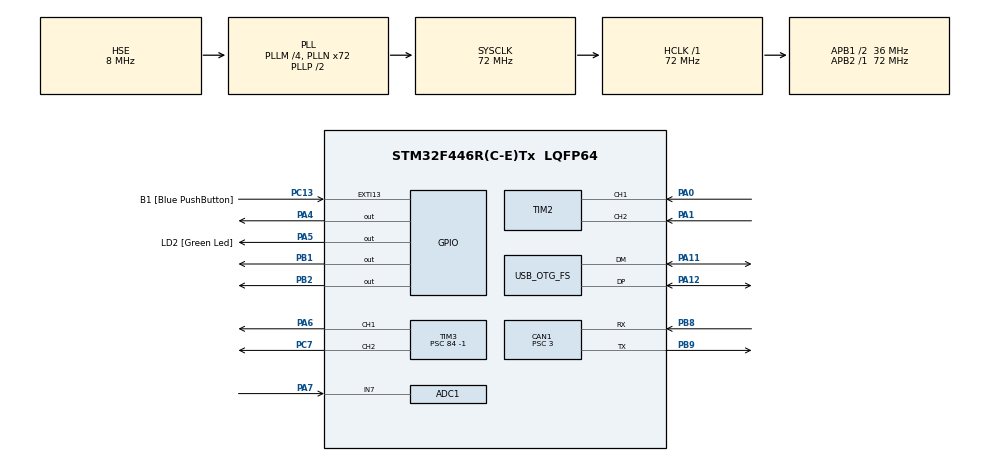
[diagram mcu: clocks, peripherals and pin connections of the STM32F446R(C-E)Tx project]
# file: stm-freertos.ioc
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ADC1.Channel-1\#ChannelRegularConversion=ADC_CHANNEL_7
ADC1.ContinuousConvMode=DISABLE
ADC1.DMAContinuousRequests=ENABLE
ADC1.ExternalTrigConv=ADC_EXTERNALTRIGCONV_T8_TRGO
ADC1.NbrOfConversionFlag=1
ADC1.Rank-1\#ChannelRegularConversion=1
ADC1.SamplingTime-1\#ChannelRegularConversion=ADC_SAMPLETIME_480CYCLES
ADC1.ScanConvMode=DISABLE
ADC1.master=1
AL94.I-CUBE-USBD-COMPOSITE.1.0.3.CompositeCcUSBJjCOMPOSITEJjCDCIiACM=true
AL94.I-CUBE-USBD-COMPOSITE.1.0.3.CompositeCcUSBJjCOMPOSITEJjCOMPOSITE=true
AL94.I-CUBE-USBD-COMPOSITE.1.0.3.CompositeCcUSBJjCOMPOSITEJjCore=true
AL94.I-CUBE-USBD-COMPOSITE.1.0.3.CompositeCcUSBJjCOMPOSITEJjHIDIiCUSTOM=true
AL94.I-CUBE-USBD-COMPOSITE.1.0.3._USBD_USE_CDC_ACM=true
AL94.I-CUBE-USBD-COMPOSITE.1.0.3._USBD_USE_HID_CUSTOM=true
CAN1.BS1=CAN_BS1_9TQ
CAN1.BS2=CAN_BS2_2TQ
CAN1.CalculateBaudRate=999999
CAN1.CalculateTimeBit=1000
CAN1.CalculateTimeQuantum=83.33333333333334
CAN1.Prescaler=3
CAN1.SJW=CAN_SJW_1TQ
Dma.ADC1.0.Direction=DMA_PERIPH_TO_MEMORY
Dma.ADC1.0.FIFOMode=DMA_FIFOMODE_DISABLE
Dma.ADC1.0.Instance=DMA2_Stream0
Dma.ADC1.0.MemDataAlignment=DMA_MDATAALIGN_HALFWORD
Dma.ADC1.0.MemInc=DMA_MINC_ENABLE
Dma.ADC1.0.Mode=DMA_CIRCULAR
Dma.ADC1.0.PeriphDataAlignment=DMA_PDATAALIGN_HALFWORD
Dma.ADC1.0.PeriphInc=DMA_PINC_DISABLE
Dma.ADC1.0.Priority=DMA_PRIORITY_HIGH
Dma.Request0=ADC1
FREERTOS.BinarySemaphores01=spiSendMutex,Dynamic,NULL,Available;uartMutex,Dynamic,NULL,Available
FREERTOS.Tasks01=defaultTask,0,128,StartDefaultTask,Default,NULL,Dynamic,NULL,NULL;ControlLoopTask,2,512,StartControlLoop,Default,NULL,Dynamic,NULL,NULL;CommLoopTask,0,512,StartCommLoopTask,Default,NULL,Dynamic,NULL,NULL
FREERTOS.configUSE_NEWLIB_REENTRANT=1
Mcu.Family=STM32F4
Mcu.Name=STM32F446R(C-E)Tx
Mcu.Package=LQFP64
NVIC.CAN1_RX0_IRQn=true\:5\:0\:false\:false\:true\:true\:true\:true\:true
NVIC.CAN1_RX1_IRQn=true\:5\:0\:false\:false\:true\:true\:true\:true\:true
NVIC.DMA2_Stream0_IRQn=true\:5\:0\:false\:false\:true\:true\:false\:true\:true
NVIC.OTG_FS_IRQn=true\:6\:0\:true\:false\:true\:true\:true\:true\:true
NVIC.PriorityGroup=NVIC_PRIORITYGROUP_4
NVIC.TIM6_DAC_IRQn=true\:15\:0\:false\:false\:true\:false\:false\:true\:true
NVIC.TimeBase=TIM6_DAC_IRQn
NVIC.TimeBaseIP=TIM6
PA0-WKUP.Signal=S_TIM2_CH1_ETR
PA1.Signal=S_TIM2_CH2
PA11.Mode=Device_Only
PA11.Signal=USB_OTG_FS_DM
PA12.Mode=Device_Only
PA12.Signal=USB_OTG_FS_DP
PA13.GPIO_Label=TMS
PA13.Mode=Serial_Wire
PA13.Signal=SYS_JTMS-SWDIO
PA14.GPIO_Label=TCK
PA14.Mode=Serial_Wire
PA14.Signal=SYS_JTCK-SWCLK
PA4.Signal=GPIO_Output
PA5.GPIO_Label=LD2 [Green Led]
PA5.Signal=GPIO_Output
PA6.Signal=S_TIM3_CH1
PA7.Signal=ADCx_IN7
PB1.Signal=GPIO_Output
PB2.Signal=GPIO_Output
PB3.GPIO_Label=SWO
PB3.Signal=SYS_JTDO-SWO
PB8.GPIO_PuPd=GPIO_PULLUP
PB8.Mode=CAN_Activate
PB8.Signal=CAN1_RX
PB9.Mode=CAN_Activate
PB9.Signal=CAN1_TX
PC13.GPIO_Label=B1 [Blue PushButton]
PC13.GPIO_ModeDefaultEXTI=GPIO_MODE_IT_FALLING
PC13.Signal=GPXTI13
PC14-OSC32_IN.Mode=LSE-External-Oscillator
PC14-OSC32_IN.Signal=RCC_OSC32_IN
PC15-OSC32_OUT.Mode=LSE-External-Oscillator
PC15-OSC32_OUT.Signal=RCC_OSC32_OUT
PC7.Signal=S_TIM3_CH2
PH0-OSC_IN.Mode=HSE-External-Oscillator
PH0-OSC_IN.Signal=RCC_OSC_IN
PH1-OSC_OUT.Mode=HSE-External-Oscillator
PH1-OSC_OUT.Signal=RCC_OSC_OUT
ProjectManager.HeapSize=0x200
ProjectManager.StackSize=0x400
ProjectManager.TargetToolchain=STM32CubeIDE
RCC.48MHZClocksFreq_Value=84000000
RCC.AHBFreq_Value=72000000
RCC.APB1CLKDivider=RCC_HCLK_DIV2
RCC.APB1Freq_Value=36000000
RCC.APB1TimFreq_Value=72000000
RCC.APB2Freq_Value=72000000
RCC.APB2TimFreq_Value=72000000
RCC.CortexFreq_Value=72000000
RCC.FLatency-AdvancedSettings=FLASH_LATENCY_2
RCC.HCLKFreq_Value=72000000
RCC.HSE_VALUE=8000000
RCC.HSI_VALUE=16000000
RCC.PLLM=4
RCC.PLLN=72
RCC.PLLQ=3
RCC.SYSCLKFreq_VALUE=72000000
RCC.SYSCLKSource=RCC_SYSCLKSOURCE_PLLCLK
RCC.USBFreq_Value=48000000
RCC.VCOOutputFreq_Value=144000000
SH.ADCx_IN7.0=ADC1_IN7,IN7
SH.S_TIM2_CH1_ETR.0=TIM2_CH1,Encoder_Interface
SH.S_TIM2_CH2.0=TIM2_CH2,Encoder_Interface
SH.S_TIM3_CH1.0=TIM3_CH1,PWM Generation1 CH1
SH.S_TIM3_CH2.0=TIM3_CH2,PWM Generation2 CH2
TIM2.EncoderMode=TIM_ENCODERMODE_TI12
TIM3.Channel-PWM\ Generation1\ CH1=TIM_CHANNEL_1
TIM3.Channel-PWM\ Generation2\ CH2=TIM_CHANNEL_2
TIM3.Period=1000 - 1
TIM3.Prescaler=84 -1
TIM3.Pulse-PWM\ Generation1\ CH1=500
TIM3.Pulse-PWM\ Generation2\ CH2=500
TIM8.Channel-Output\ Compare1\ No\ Output=TIM_CHANNEL_1
TIM8.Period=499
TIM8.Prescaler=83
TIM8.TIM_MasterOutputTrigger=TIM_TRGO_UPDATE
TIM8.TIM_MasterSlaveMode=TIM_MASTERSLAVEMODE_DISABLE
USB_OTG_FS.VirtualMode=Device_Only
VP_AL94.I-CUBE-USBD-COMPOSITE_VS_USBJjComposite_1.0.0_1.0.3.Mode=USBJjComposite
VP_FREERTOS_VS_CMSIS_V1.Mode=CMSIS_V1
VP_SYS_VS_tim6.Mode=TIM6
VP_TIM8_VS_no_output1.Mode=Output Compare1 No Output
board=NUCLEO-F446RE

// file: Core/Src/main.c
/* USER CODE BEGIN Header */
/**
  ******************************************************************************
  * @file           : main.c
  * @brief          : Main program body
  ******************************************************************************
  * @attention
  *
  * Copyright (c) 2024 STMicroelectronics.
  * All rights reserved.
  *
  * This software is licensed under terms that can be found in the LICENSE file
  * in the root directory of this software component.
  * If no LICENSE file comes with this software, it is provided AS-IS.
  *
  ******************************************************************************
  */
/* USER CODE END Header */
#include "main.h"
#include "cmsis_os.h"
#include "adc.h"
#include "can.h"
#include "dma.h"
#include "tim.h"
#include "usb_otg.h"
#include "gpio.h"

/* USER CODE BEGIN Includes */
#include "FreeRTOS.h"
#include "task.h"
#include "semphr.h"
#include <cJSON.h>
#include <string.h>
#include <stdio.h>
#include "stm32f4xx_hal.h"
#include <math.h>
#include <time.h>

/* USER CODE END Includes */

/* USER CODE BEGIN PV */
extern uint16_t adc_buffer[];
/* USER CODE END PV */

void SystemClock_Config(void);
void MX_FREERTOS_Init(void);

/* USER CODE BEGIN 0 */

//void send_response(const char* str) {
//    if (str == NULL) {
//        return; // Handle null pointer case if necessary
//    }
//
//    // Calculate the length of the string
//    uint16_t len = strlen(str);
//
//    // Transmit the string using HAL_UART_Transmit
//    HAL_UART_Transmit(&huart2, (uint8_t*)str, len, HAL_MAX_DELAY);
//}
//
//int _write(int file, char *data, int len) {
//    // Replace 'huart2' with your specific UART handle (e.g., 'huart1', 'huart3', etc.)
//    HAL_UART_Transmit(&huart2, (uint8_t *)data, len, HAL_MAX_DELAY);
//    return len;
//}
/* USER CODE END 0 */

int main(void)
{

  /* MCU Configuration--------------------------------------------------------*/

  /* Reset of all peripherals, Initializes the Flash interface and the Systick. */
  HAL_Init();

  /* Configure the system clock */
  SystemClock_Config();

  /* Initialize all configured peripherals */
  MX_GPIO_Init();
  MX_DMA_Init();
  MX_TIM2_Init();
  MX_TIM3_Init();
  MX_USB_OTG_FS_PCD_Init();
  MX_ADC1_Init();
  MX_CAN1_Init();
  MX_TIM8_Init();
  /* USER CODE BEGIN 2 */

  init_encoder();
  DWT_Init();
  HAL_TIM_PWM_Start(&htim3, TIM_CHANNEL_1);
  HAL_TIM_PWM_Start(&htim3, TIM_CHANNEL_2);

  MX_USB_DEVICE_Init();

  HAL_CAN_Start(&hcan1);
  HAL_CAN_ActivateNotification(&hcan1, CAN_IT_RX_FIFO1_MSG_PENDING);
  /* USER CODE END 2 */

  /* Call init function for freertos objects (in cmsis_os2.c) */
  MX_FREERTOS_Init();

  /* Start scheduler */
  osKernelStart();

  /* We should never get here as control is now taken by the scheduler */

  /* Infinite loop */
  /* USER CODE BEGIN WHILE */

  // Task creation
  // Start scheduler
  vTaskStartScheduler();

  while (1)
  {
    /* USER CODE END WHILE */

  }
}

void SystemClock_Config(void)
{
  RCC_OscInitTypeDef RCC_OscInitStruct = {0};
  RCC_ClkInitTypeDef RCC_ClkInitStruct = {0};

  /** Configure the main internal regulator output voltage
  */
  __HAL_RCC_PWR_CLK_ENABLE();
  __HAL_PWR_VOLTAGESCALING_CONFIG(PWR_REGULATOR_VOLTAGE_SCALE3);

  /** Initializes the RCC Oscillators according to the specified parameters
  * in the RCC_OscInitTypeDef structure.
  */
  RCC_OscInitStruct.OscillatorType = RCC_OSCILLATORTYPE_HSE;
  RCC_OscInitStruct.HSEState = RCC_HSE_ON;
  RCC_OscInitStruct.PLL.PLLState = RCC_PLL_ON;
  RCC_OscInitStruct.PLL.PLLSource = RCC_PLLSOURCE_HSE;
  RCC_OscInitStruct.PLL.PLLM = 4;
  RCC_OscInitStruct.PLL.PLLN = 72;
  RCC_OscInitStruct.PLL.PLLP = RCC_PLLP_DIV2;
  RCC_OscInitStruct.PLL.PLLQ = 3;
  RCC_OscInitStruct.PLL.PLLR = 2;
  if (HAL_RCC_OscConfig(&RCC_OscInitStruct) != HAL_OK)
  {
    Error_Handler();
  }

  /** Initializes the CPU, AHB and APB buses clocks
  */
  RCC_ClkInitStruct.ClockType = RCC_CLOCKTYPE_HCLK|RCC_CLOCKTYPE_SYSCLK
                              |RCC_CLOCKTYPE_PCLK1|RCC_CLOCKTYPE_PCLK2;
  RCC_ClkInitStruct.SYSCLKSource = RCC_SYSCLKSOURCE_PLLCLK;
  RCC_ClkInitStruct.AHBCLKDivider = RCC_SYSCLK_DIV1;
  RCC_ClkInitStruct.APB1CLKDivider = RCC_HCLK_DIV2;
  RCC_ClkInitStruct.APB2CLKDivider = RCC_HCLK_DIV1;

  if (HAL_RCC_ClockConfig(&RCC_ClkInitStruct, FLASH_LATENCY_2) != HAL_OK)
  {
    Error_Handler();
  }
}

/* USER CODE BEGIN 4 */
void HAL_CAN_RxFifo1MsgPendingCallback(CAN_HandleTypeDef *hcan)
{
	if(hcan->Instance == CAN1)
	{
		processCAN();
	}
}

void HAL_CAN_RxFifo0MsgPendingCallback(CAN_HandleTypeDef *hcan)
{
	if(hcan->Instance == CAN1)
	{
		processCAN();
	}
}
/* USER CODE END 4 */

void HAL_TIM_PeriodElapsedCallback(TIM_HandleTypeDef *htim)
{
  if (htim->Instance == TIM6) {
    HAL_IncTick();
  }
}

void Error_Handler(void)
{
  __disable_irq();
  while (1)
  {
  }
}

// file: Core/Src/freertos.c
/* USER CODE BEGIN Header */
/**
  ******************************************************************************
  * File Name          : freertos.c
  * Description        : Code for freertos applications
  ******************************************************************************
  * @attention
  *
  * Copyright (c) 2024 STMicroelectronics.
  * All rights reserved.
  *
  * This software is licensed under terms that can be found in the LICENSE file
  * in the root directory of this software component.
  * If no LICENSE file comes with this software, it is provided AS-IS.
  *
  ******************************************************************************
  */
/* USER CODE END Header */

#include "FreeRTOS.h"
#include "task.h"
#include "main.h"
#include "cmsis_os.h"

/* USER CODE BEGIN Includes */
#include "FreeRTOS.h"
#include "task.h"
#include "semphr.h"
#include <cJSON.h>
#include <string.h>
#include <stdio.h>
#include "stm32f4xx_hal.h"
#include <math.h>
#include <time.h>
#include <tim.h>
#include <can.h>
#include <adc.h>
#include <usb_otg.h>
#include <usbd_hid_custom_if.h>
/* USER CODE END Includes */

/* USER CODE BEGIN PTD */
// !!! STRUCTS MUST MATCH ACROSS DEVICES !!!
typedef struct __attribute__((packed)){
	int32_t  tRpm;
	int32_t  tGear;
	int32_t  tSpeedKmh;
	int32_t  tHasDRS;
	int32_t  tDrs;
	int32_t  tPitLim;
	int32_t  tFuel;
	int32_t  tBrakeBias;
	int32_t  tMaxRpm;
	float   tForceFB;
} telemetry_packet;

telemetry_packet telemetry_data;

typedef struct __attribute__((packed)){
	uint8_t steering;          // Steering Wheel (0-255) x axis
	uint8_t throttle;          // Throttle (0-255) z axis
	uint8_t brake;             // Brake (0-255) Rx axis
	uint8_t clutch;            // Clutch (0-255) Ry axis
	uint32_t buttons;          // Buttons (16 bits) 32 bits
	uint8_t rz;         // Encoder 1 (Rz axis)
	uint8_t slider;     // Encoder 2 (Slider axis)
} __attribute__((packed)) HIDReport_t;

HIDReport_t HIDReport;

typedef struct __attribute__((packed, aligned(1))) {
    uint32_t buttons;       // 10 physical buttons + 2 hall sensor buttons (12 total, packed into 16 bits)
    uint8_t hall_analog_1;  // First hall sensor analog value (0-255)
    uint8_t hall_analog_2;  // Second hall sensor analog value (0-255)
} user_input_data_t;

user_input_data_t user_input_data;

typedef struct __attribute__((packed, aligned(1))) {
    int16_t encoder_1;      // First encoder value
    int16_t encoder_2;      // Second encoder value
    int16_t encoder_3;      // Third encoder value
} pedal_data_t;

pedal_data_t pedal_data;
/* USER CODE END PTD */

/* USER CODE BEGIN PD */
#define ENCODER_RESOLUTION 2400  // Example: number of counts per rotation
#define WHEEL_MAX_ANGLE 450.0f      // Maximum angle for the lock (degrees)
#define BUFFER_SIZE 256
#define MAX_REVOLUTIONS 2

#define ADC_CHANNEL_COUNT  1  // Only one channel used

/* USER CODE END PD */

/* USER CODE BEGIN Variables */
uint8_t rx_buffer[BUFFER_SIZE];  // Buffer to hold received data
uint8_t tx_buffer[BUFFER_SIZE];  // Buffer to hold received data
uint8_t gCommandData[BUFFER_SIZE];  // Buffer to hold a copy of the received command

float gPWM;
float gPWMConst;
float gPWMConstDebug = 0;
float gTotalforce;
volatile int16_t gPosition;
uint8_t gDir;
uint8_t gDirDebug = 1;
float wheel_angle = 0.0;
float angular_velocity = 0.0;
float gDelta;

float gBrake = 0;
float gAccel = 0;
float gSteering = 0;

float hall_voltage = 0;
float max_hall_voltage = 0;
float gHall = 0;
uint32_t max_position = 0;

int gDebugCounter1 = 0;
int gDebugCounter2 = 0;

uint32_t can_error = 0;
uint32_t lastSendTime = 0;

uint16_t adc_buffer[1];  // DMA needs a buffer
volatile uint8_t adc_data_ready = 0;

/*
 * Default strength is 0.5 (results in bell curve feedback)
 * Over drive would be greater than 0.5
 * example: Strength at 1 makes PWM reach 255 at ffbSignal at 0.5 from the game.
 */
float gStrength = 0.1;
float gFfbSignal;
static float last_encoder_count = 0;
static float last_update_time = 0;
/* USER CODE END Variables */
osThreadId defaultTaskHandle;
osThreadId ControlLoopTaskHandle;
osThreadId CommLoopTaskHandle;
osSemaphoreId spiSendMutexHandle;
osSemaphoreId uartMutexHandle;

/* USER CODE BEGIN FunctionPrototypes */
void runCAN();
void runReport();
void sendCANMessage(uint16_t canID, int32_t value);
float constrain(float x, float lower, float upper);
float calculate_inertia(float force_feedback, float angular_velocity);
float calculate_damping(float angular_velocity);
float calculate_friction(float angular_velocity);
float calculate_lock(float angle);
float scale_to_pwm(float total_force);
extern void init_encoder();
int16_t read_encoder_position();
void reset_encoder_position();
float get_angle_degrees();
void update_wheel_position_and_velocity(float *wheel_angle, float *angular_velocity);
void set_motor_pwm(float pwm_value, uint8_t direction);
//void set_motor_direction(uint8_t direction);
uint8_t map_wheel_position_to_axis(int32_t position);
void motor_rotate_left();
void motor_rotate_right();
void read_hall_sensor();
void Start_ADC_DMA();
void move_to_position(uint32_t target_position);
void processCAN();
/* USER CODE END FunctionPrototypes */

void StartDefaultTask(void const * argument);
void StartControlLoop(void const * argument);
void StartCommLoopTask(void const * argument);

void MX_FREERTOS_Init(void); /* (MISRA C 2004 rule 8.1) */

/* GetIdleTaskMemory prototype (linked to static allocation support) */
void vApplicationGetIdleTaskMemory( StaticTask_t **ppxIdleTaskTCBBuffer, StackType_t **ppxIdleTaskStackBuffer, uint32_t *pulIdleTaskStackSize );

/* USER CODE BEGIN GET_IDLE_TASK_MEMORY */
static StaticTask_t xIdleTaskTCBBuffer;
static StackType_t xIdleStack[configMINIMAL_STACK_SIZE];

void vApplicationGetIdleTaskMemory( StaticTask_t **ppxIdleTaskTCBBuffer, StackType_t **ppxIdleTaskStackBuffer, uint32_t *pulIdleTaskStackSize )
{
  *ppxIdleTaskTCBBuffer = &xIdleTaskTCBBuffer;
  *ppxIdleTaskStackBuffer = &xIdleStack[0];
  *pulIdleTaskStackSize = configMINIMAL_STACK_SIZE;
  /* place for user code */
}
/* USER CODE END GET_IDLE_TASK_MEMORY */

void MX_FREERTOS_Init(void) {
  /* USER CODE BEGIN Init */
	telemetry_data.tRpm = 0;
	telemetry_data.tRpm = 0;
	telemetry_data.tSpeedKmh = 0;
	telemetry_data.tHasDRS = 0;
	telemetry_data.tDrs = 0;
	telemetry_data.tPitLim = 0;
	telemetry_data.tFuel = 0;
	telemetry_data.tBrakeBias = 0;
	gFfbSignal = 0;

	HIDReport.steering = 0;        // Steering data (0-255)
	HIDReport.throttle = 0;        // Throttle data (0-255)
	HIDReport.brake = 0;           // Brake data (0-255)
	HIDReport.clutch = 0;         // Clutch data (0-255)
	HIDReport.buttons = 0;   // Each bit represents a button'
	HIDReport.rz = 0;
	HIDReport.slider = 0;
	memset(&telemetry_data, 0, sizeof(telemetry_packet)); // Zero-initialize
  /* USER CODE END Init */

  /* Create the semaphores(s) */
  /* definition and creation of spiSendMutex */
  osSemaphoreDef(spiSendMutex);
  spiSendMutexHandle = osSemaphoreCreate(osSemaphore(spiSendMutex), 1);

  /* definition and creation of uartMutex */
  osSemaphoreDef(uartMutex);
  uartMutexHandle = osSemaphoreCreate(osSemaphore(uartMutex), 1);

  /* Create the thread(s) */
  /* definition and creation of defaultTask */
  osThreadDef(defaultTask, StartDefaultTask, osPriorityNormal, 0, 128);
  defaultTaskHandle = osThreadCreate(osThread(defaultTask), NULL);

  /* definition and creation of ControlLoopTask */
  osThreadDef(ControlLoopTask, StartControlLoop, osPriorityHigh, 0, 512);
  ControlLoopTaskHandle = osThreadCreate(osThread(ControlLoopTask), NULL);

  /* definition and creation of CommLoopTask */
  osThreadDef(CommLoopTask, StartCommLoopTask, osPriorityNormal, 0, 512);
  CommLoopTaskHandle = osThreadCreate(osThread(CommLoopTask), NULL);

}

void StartDefaultTask(void const * argument)
{
  /* USER CODE BEGIN StartDefaultTask */
  /* Infinite loop */
  for(;;)
  {
	  //gFfbSignal = oscillate();
	  // Define the proportional gain (adjust this value to change stiffness)
//	  const float Kp = 1.0f;
//	  const float deadband = 50.0f; // Deadband range in degrees
//	  /* Infinite loop */
//	  for(;;)
//	  {
//		  float error = wheel_angle;
//
//		  if (fabsf(error) < deadband) {
//		      gFfbSignal = 0.0f;
//		  } else {
//		      gFfbSignal = -Kp * (error / WHEEL_MAX_ANGLE);
//		      gFfbSignal = constrain(gFfbSignal, -1.0f, 1.0f);
//		  }
//		  // Small delay to allow other tasks to run
//		  osDelay(10);
//	  }
  }
  /* USER CODE END StartDefaultTask */
}

void StartControlLoop(void const * argument)
{
  /* USER CODE BEGIN StartControlLoop */
  /* Infinite loop */
	Start_ADC_DMA();
  for(;;)
  {
	  float total_force = 0.0;
	  const float Kp = 1.0f;

	  for (;;) {
		  // Step 1: Retrieve current force feedback signal (e.g., from game data).
		  float force_feedback_signal = telemetry_data.tForceFB;
		  read_hall_sensor();
		  // Step 2: Calculate individual forces based on physics:
//		  float inertia_force = calculate_inertia(force_feedback_signal, angular_velocity);
//		  float damping_force = calculate_damping(angular_velocity);
//		  float friction_force = calculate_friction(angular_velocity);
//		  float lock_force = calculate_lock(wheel_angle);

		  // Step 3: Sum all forces and scale to PWM range:
//		  total_force = force_feedback_signal + inertia_force + damping_force + friction_force + lock_force;
		  total_force = force_feedback_signal;
		  // Strength gain
		  total_force *= gStrength;

		  total_force = constrain(total_force, -1.0, 1.0);

		  // Deadband
		  const float FORCE_DEADBAND_THRESHOLD = 0.05f; // Adjust as needed
		  const float ANGLE_DEADBAND_THRESHOLD = 50.0f; // Adjust as needed
//		  float error = wheel_angle;
//		  if (fabsf(error) < ANGLE_DEADBAND_THRESHOLD)  {
//			  total_force = 0.0f;
//		  }
//		  else { // TEST CODE: gives increasing feedback farther away from center
//			  total_force = -Kp * (error / WHEEL_MAX_ANGLE);
//			  total_force = constrain(total_force, -1.0f, 1.0f);
//		  }

		  // Step 4: Map total_force to PWM and determine direction
		  float pwm_output = scale_to_pwm(total_force);
		  // 0 is negative direction; 1 is positive direction
		  uint8_t motor_direction = (total_force >= 0) ? 1 : 0;

		  // Debug
		  gDir = motor_direction;
		  gTotalforce = total_force;
		  gPWMConst = pwm_output;

		  // Step 5: Send PWM signal to H-bridge for motor control:
		  //set_motor_direction(motor_direction);
		  set_motor_pwm(pwm_output, motor_direction);
//		  set_motor_pwm(gPWMConstDebug, gDirDebug); //DEBUG MOTOR

		  // Step 6: Update wheel position and velocity for next loop:
		  update_wheel_position_and_velocity(&wheel_angle, &angular_velocity);

		  // Run this task periodically (every 10ms):
		  osDelay(5);
	  }
  }
  /* USER CODE END StartControlLoop */
}

void StartCommLoopTask(void const * argument)
{
  /* USER CODE BEGIN StartCommLoopTask */
  /* Infinite loop */
  for(;;)
  {
	  if (osSemaphoreWait(spiSendMutexHandle, 10) == osOK) {
		  runCAN();
	  }

	  runReport();
    osDelay(10);
  }
  /* USER CODE END StartCommLoopTask */
}

/* USER CODE BEGIN Application */
// Initialize DWT for cycle counting
void DWT_Init(void) {
    if (!(CoreDebug->DEMCR & CoreDebug_DEMCR_TRCENA_Msk)) {
        CoreDebug->DEMCR |= CoreDebug_DEMCR_TRCENA_Msk;
    }
    DWT->CYCCNT = 0; // Reset the cycle counter
    DWT->CTRL |= DWT_CTRL_CYCCNTENA_Msk; // Enable the cycle counter
}

// Delay function using DWT for accurate timing in microseconds
void DWT_Delay_us(uint32_t us) {
    uint32_t startTick = DWT->CYCCNT;
    uint32_t delayTicks = us * (SystemCoreClock / 1000000); // Convert microseconds to ticks

    while ((DWT->CYCCNT - startTick) < delayTicks) {
        // Wait until the required delay has passed
    }
}

void runReport() {
	memset(&HIDReport, 0, sizeof(HIDReport_t));

	uint16_t max_clutch = pedal_data.encoder_3;

	if (user_input_data.hall_analog_1 > max_clutch) {
		max_clutch = user_input_data.hall_analog_1;
	}
	if (user_input_data.hall_analog_1 > max_clutch) {
		max_clutch = user_input_data.hall_analog_1;
	}

	HIDReport.steering = gSteering;
	HIDReport.throttle = pedal_data.encoder_1;
	HIDReport.brake = pedal_data.encoder_2;
	HIDReport.clutch = max_clutch;

	HIDReport.buttons = user_input_data.buttons;

//	HIDReport.rz = (uint8_t) (user_input_data.encoder_1 & 0xFF);
//	HIDReport.slider = (uint8_t) (user_input_data.encoder_2 & 0xFF);

	USBD_CUSTOM_HID_SendCustomReport((uint8_t *)&HIDReport, sizeof(HIDReport));
}

void runCAN() {
    static uint8_t messageIndex = 0;
    uint32_t currentTime = HAL_GetTick();

    if (currentTime - lastSendTime >= 2) {  // Reduce cycle time to avoid backlog
        switch (messageIndex) {
            case 0:
                sendCANMessage(0x100, telemetry_data.tRpm);
                sendCANMessage(0x101, telemetry_data.tGear);
                sendCANMessage(0x102, telemetry_data.tSpeedKmh);
                break;
            case 1:
                sendCANMessage(0x103, telemetry_data.tHasDRS);
                sendCANMessage(0x104, telemetry_data.tDrs);
                sendCANMessage(0x105, telemetry_data.tPitLim);
                break;
            case 2:
                sendCANMessage(0x106, telemetry_data.tFuel);
                sendCANMessage(0x107, telemetry_data.tBrakeBias);
                sendCANMessage(0x108, telemetry_data.tMaxRpm);
                break;
            case 3:
                sendCANMessage(0x109, telemetry_data.tForceFB);
                break;
        }

        messageIndex = (messageIndex + 1) % 4;  // Cycle through cases
        lastSendTime = currentTime;  // Update time
    }

    osSemaphoreRelease(spiSendMutexHandle);
}

void sendCANMessage(uint16_t canID, int32_t value) {
    CAN_TxHeaderTypeDef TxHeader;
    uint8_t TxData[4];  // 4-byte buffer
    uint32_t TxMailbox;

    // Configure the CAN header
    TxHeader.StdId = canID;  // Set the ID
    TxHeader.IDE = CAN_ID_STD;  // Standard 11-bit ID
    TxHeader.RTR = CAN_RTR_DATA;  // Data frame, not remote request
    TxHeader.DLC = sizeof(value);  // Data Length = 4 bytes

    // Copy integer value into TxData buffer (ensure correct byte order)
    memcpy(TxData, &value, sizeof(value));

    // Send the CAN message
    if (HAL_CAN_AddTxMessage(&hcan1, &TxHeader, TxData, &TxMailbox) != HAL_OK) {
    	 // Optionally log the state of CAN error counters
		uint32_t error = HAL_CAN_GetError(&hcan1);
		HAL_CAN_Stop(&hcan1);  // Stop CAN
		HAL_CAN_Start(&hcan1); // Restart CAN

		// Optional: Clear error flags
		__HAL_CAN_CLEAR_FLAG(&hcan1, CAN_FLAG_ERRI);
    }
}

float oscillate() {
    float period = 3.0;  // Oscillation period in seconds
    float elapsed_time = HAL_GetTick() / 1000.0;  // Convert milliseconds to seconds

    // Calculate the oscillation value using a sine wave
    return sin((2 * M_PI * elapsed_time) / period);
}

float constrain(float x, float lower, float upper) {
    if (x < lower) return lower;
    if (x > upper) return upper;
    return x;
}

float calculate_inertia(float force_feedback, float angular_velocity) {
    static float previous_output = 0;
    float inertia_coefficient = 0.1; // Fine-tune for feel
    float inertia_force = inertia_coefficient * previous_output + (1 - inertia_coefficient) * force_feedback;
    previous_output = inertia_force;
    return inertia_force;
}

float calculate_damping(float angular_velocity) {
    float damping_coefficient = 0.05;
    return -damping_coefficient * angular_velocity;
}

float calculate_friction(float angular_velocity) {
    float friction_coefficient = 0.02;
    if (angular_velocity > 0) {
        return -friction_coefficient;
    } else if (angular_velocity < 0) {
        return friction_coefficient;
    } else {
        return 0;
    }
}

float calculate_lock(float angle) {
    float lock_coefficient = 1.0;
    float max_angle = 450.0;
    if (angle > max_angle) {
        return -lock_coefficient * (angle - max_angle);
    } else if (angle < -max_angle) {
        return -lock_coefficient * (angle + max_angle);
    }
    return 0;
}

float scale_to_pwm(float total_force) {
    const float MIN_PWM = 50.0f;    // Minimum PWM value for the motor to start moving
    const float MAX_PWM = 255.0f;   // Maximum PWM value

    // If total_force is zero, return zero PWM output
    if (total_force == 0.0f) {
        gPWM = 0.0f;
        return 0.0f;
    }

    // Calculate PWM output
    float pwm_output = fabs(total_force) * (MAX_PWM - MIN_PWM) + MIN_PWM;

    // Constrain PWM output to valid range
    pwm_output = constrain(pwm_output, MIN_PWM, MAX_PWM);

    // Update debug variable
    gPWM = pwm_output;

    return pwm_output;
}

uint8_t map_wheel_position_to_axis(int32_t position) {
    int32_t min_position = -450;
    int32_t max_position = 450;

    // Clamp the position to the valid range
	if (position < min_position) {
		position = min_position;
	} else if (position > max_position) {
		position = max_position;
	}

	// Reverse the mapping
	return (uint8_t)((((max_position - position) * 255) + (max_position - min_position) / 2) / (max_position - min_position));
}

extern void init_encoder() {
    // Start the encoder mode timer
    HAL_TIM_Encoder_Start(&htim2, TIM_CHANNEL_ALL);
    reset_encoder_position();
}

int16_t read_encoder_position() {
    return __HAL_TIM_GET_COUNTER(&htim2);  // Get the current encoder count
}

void reset_encoder_position() {
    __HAL_TIM_SET_COUNTER(&htim2, 0);  // Reset the encoder count to zero
}

float get_angle_degrees() {
	if(gHall <= 1110 && gHall <= 1130)
	{
		reset_encoder_position();
	}
	int16_t position = read_encoder_position();
    gPosition = position;
    return (position * 360.0) / ENCODER_RESOLUTION;
}

//void update_wheel_position_and_velocity(float *wheel_angle, float *angular_velocity) {
//    // Get the current encoder count
//    float current_angle = get_angle_degrees();
//
//    // Calculate time difference (in seconds) since the last update
//    uint32_t current_time = HAL_GetTick();  // In milliseconds
//    float dt = (current_time - last_update_time) / 1000.0f;  // Convert ms to seconds
//
//    // Calculate the change in angle
//    float delta_angle = current_angle - last_encoder_count;
//
//    // Implement a threshold to ignore small changes
//    if (fabs(delta_angle) < 0.25f) {  // Adjust the threshold as needed
//        delta_angle = 0.0f;
//    }
//
//    // Update the wheel angle, keeping within the lock limit
//    *wheel_angle += delta_angle;
//    if (*wheel_angle > WHEEL_MAX_ANGLE) *wheel_angle = WHEEL_MAX_ANGLE;
//    if (*wheel_angle < -WHEEL_MAX_ANGLE) *wheel_angle = -WHEEL_MAX_ANGLE;
//
//    gDelta = delta_angle;
//    // Calculate angular velocity (degrees per second)
//    if (dt > 0.0001f) {  // Avoid division by zero
//        *angular_velocity = delta_angle / dt;
//    } else {
//        *angular_velocity = 0.0f;
//    }
//
//    // Store the current values for the next update
//    last_encoder_count = current_angle;
//    last_update_time = current_time;
//
//    gSteering = map_wheel_position_to_axis(*wheel_angle);
//}

void update_wheel_position_and_velocity(float *wheel_angle, float *angular_velocity) {
    // Get the absolute current encoder angle
    float current_angle = get_angle_degrees();

    // Clamp the wheel angle between -WHEEL_MAX_ANGLE and +WHEEL_MAX_ANGLE
    if (current_angle > WHEEL_MAX_ANGLE) current_angle = WHEEL_MAX_ANGLE;
    if (current_angle < -WHEEL_MAX_ANGLE) current_angle = -WHEEL_MAX_ANGLE;

    // Directly set the wheel angle
    *wheel_angle = current_angle;

    // Calculate time difference
    uint32_t current_time = HAL_GetTick();  // In milliseconds
    float dt = (current_time - last_update_time) / 1000.0f;  // ms to seconds

    // Calculate angular velocity
    static float last_angle = 0.0f;
    float delta_angle = current_angle - last_angle;

    if (dt > 0.0001f) {  // Avoid division by zero
        *angular_velocity = delta_angle / dt;
    } else {
        *angular_velocity = 0.0f;
    }

    // Update for next loop
    last_angle = current_angle;
    last_update_time = current_time;

    // Map to steering value
    gSteering = map_wheel_position_to_axis(*wheel_angle);
}

void set_motor_pwm(float pwm_value, uint8_t direction) {
    // Assuming pwm_value ranges from 0 to 255
    uint32_t pulse = (uint32_t)((pwm_value / 255.0) * htim3.Init.Period);

    if (direction == 1) { // Forward
    	__HAL_TIM_SET_COMPARE(&htim3, TIM_CHANNEL_1, pulse);
    	__HAL_TIM_SET_COMPARE(&htim3, TIM_CHANNEL_2, 0);
	} else if (direction == 0) { // Reverse
		__HAL_TIM_SET_COMPARE(&htim3, TIM_CHANNEL_1, 0);
		__HAL_TIM_SET_COMPARE(&htim3, TIM_CHANNEL_2, pulse);
	} else { // Stop
		__HAL_TIM_SET_COMPARE(&htim3, TIM_CHANNEL_1, 0);
		__HAL_TIM_SET_COMPARE(&htim3, TIM_CHANNEL_2, 0);
	}
}

//void set_motor_direction(uint8_t direction) {
//    if (direction == 1) { // Forward
//        HAL_GPIO_WritePin(GPIOB, GPIO_PIN_1, GPIO_PIN_SET);   // IN1 = HIGH
//        HAL_GPIO_WritePin(GPIOB, GPIO_PIN_2, GPIO_PIN_RESET); // IN2 = LOW
//    } else if (direction == 0) { // Reverse
//        HAL_GPIO_WritePin(GPIOB, GPIO_PIN_1, GPIO_PIN_RESET); // IN1 = LOW
//        HAL_GPIO_WritePin(GPIOB, GPIO_PIN_2, GPIO_PIN_SET);   // IN2 = HIGH
//    } else { // Stop
//        HAL_GPIO_WritePin(GPIOB, GPIO_PIN_1, GPIO_PIN_RESET);   // IN1 = LOW
//        HAL_GPIO_WritePin(GPIOB, GPIO_PIN_2, GPIO_PIN_RESET);   // IN2 = LOW
//    }
//}

extern void signalTelemetryTask(uint8_t *Buf, uint32_t Len) {
	if (Len == sizeof(telemetry_packet))  // Verify the data size matches the struct size
	{
		// Process the received data (rx_buffer)
		memcpy(&telemetry_data, Buf, sizeof(telemetry_data));
		osSemaphoreRelease(uartMutexHandle);
	}
	else
	{
		int wkglwkgw = 1;
	}
}

void motor_rotate_left() {
    uint32_t target_position = gPosition - (MAX_REVOLUTIONS * ENCODER_RESOLUTION);
    while (gPosition > target_position) {
        // Set motor speed and direction
        //set_motor_direction(1);
        set_motor_pwm(100, 1);

        // Read Hall Sensor
        hall_voltage = gHall;
        if (hall_voltage > max_hall_voltage) {
            max_hall_voltage = hall_voltage;
            max_position = gPosition;
        }
    }

    // Stop Motor
    set_motor_pwm(0, 0);
}

void motor_rotate_right() {
    uint32_t target_position = gPosition + (MAX_REVOLUTIONS * ENCODER_RESOLUTION);
    while (gPosition < target_position) {
        // Set motor speed and direction
    	//set_motor_direction(0);
		set_motor_pwm(100, 0);

        // Read Hall Sensor
        hall_voltage = gHall;
        if (hall_voltage > max_hall_voltage) {
            max_hall_voltage = hall_voltage;
            max_position = gPosition;
        }
    }

    // Stop Motor
    set_motor_pwm(0, 0);
}

void read_hall_sensor() {
	if (adc_data_ready) {
	    adc_data_ready = 0;

	    gHall = adc_buffer[0];
	}
}

void Start_ADC_DMA() {
	HAL_TIM_Base_Start(&htim8);  // starts the timer
	HAL_ADC_Start_DMA(&hadc1, (uint32_t*)adc_buffer, 1);
}

void HAL_ADC_ConvCpltCallback(ADC_HandleTypeDef *hadc) {
    if (hadc->Instance == ADC1) {
        adc_data_ready = 1;
    }
}

void move_to_position(uint32_t target_position) {
    while (gPosition != target_position) {
        if (gPosition < target_position) {
            // Rotate Right
        	//set_motor_direction(1);
			set_motor_pwm(100, 1);
        } else {
            // Rotate Left
        	//set_motor_direction(0);
			set_motor_pwm(100, 0);
        }
    }

    // Stop Motor
    set_motor_pwm(0, 0);
}

void processCAN() {
    CAN_RxHeaderTypeDef RxHeader;
    uint8_t RxData[8];

    while (HAL_CAN_GetRxFifoFillLevel(&hcan1, CAN_RX_FIFO1) > 0) {
    	 if (HAL_CAN_GetRxMessage(&hcan1, CAN_RX_FIFO1, &RxHeader, RxData) == HAL_OK) {
            int32_t value = 0;

            // If the received message is for pedals, only use 2 bytes (int16_t)
            if (RxHeader.StdId >= 0x300 && RxHeader.StdId <= 0x302) {
                value = (int16_t)(
                    ((uint16_t)RxData[0]) |
                    ((uint16_t)RxData[1] << 8)  // Combine 2 bytes into int16_t
                );
            } else {
                // Steering Wheel Messages (4-byte int32_t)
                value = (int32_t)(
                    ((uint32_t)RxData[0]) |
                    ((uint32_t)RxData[1] << 8) |
                    ((uint32_t)RxData[2] << 16) |
                    ((uint32_t)RxData[3] << 24)
                );
            }

			switch (RxHeader.StdId) {
				// Steering Wheel
				case 0x200: user_input_data.buttons = (uint32_t)value; gDebugCounter1++; break;
				case 0x201: user_input_data.hall_analog_1 = (uint8_t)value; gDebugCounter1++; break;
				case 0x202: user_input_data.hall_analog_2 = (uint8_t)value; gDebugCounter1++; break;

				// Pedals
				case 0x300: pedal_data.encoder_1 = (int16_t)value; gDebugCounter2++; break;
				case 0x301: pedal_data.encoder_2 = (int16_t)value; gDebugCounter2++;  break;
				case 0x302: pedal_data.encoder_3 = (int16_t)value; gDebugCounter2++; break;
				default: break;
			}
		}
	}
}
/* USER CODE END Application */
